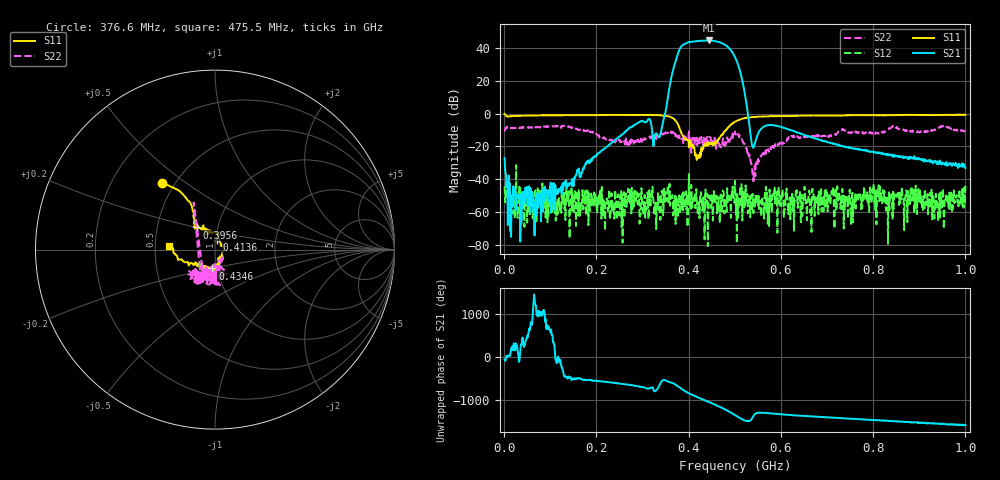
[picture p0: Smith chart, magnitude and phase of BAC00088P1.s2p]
!measured: 2026-10-29T11:18:22
!cal_instance: BB
!cal_created: 2026-10-29T10:46
!cal_file: SOLT_12_1_00M-1_00G_1001pt.cal
!port1_delay_ps: 0.0
!port2_delay_ps: 0.0
!host: lindon
! Created with skrf 2.1.0 (http://scikit-rf.org).
# Hz S RI R 50.0
!freq ReS11 ImS11 ReS21 ImS21 ReS12 ImS12 ReS22 ImS22
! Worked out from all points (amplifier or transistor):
!   1001 points, 1 MHz to 1 GHz, reference 50 ohm
!   highest |S21| = 44.8 dB at 443.6 MHz (marker M1)
!   |S21| within 3 dB of that: 386.4 MHz to 480.8 MHz (94.35 MHz wide, 21.8 % of centre)
!   unconditionally stable (mu >= 1): start of sweep to 400.2 MHz; 405.9 MHz to 483.5 MHz; 500.5 MHz to end of sweep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
!   at 166.8 MHz: K = 2973.67, MAG = -29.4 dB, |S12| = -53.9 dB
!   at 500.5 MHz: K = 1.00, MSG = 37.8 dB, |S12| = -41.0 dB
!   at 1 GHz: K = 451.58, MAG = -24.2 dB, |S12| = -43.7 dB
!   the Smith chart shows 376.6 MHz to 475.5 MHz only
!   S11 on the Smith chart (normalised r, x): 376.6 MHz: 0.43, +0.41; 395.6 MHz: 0.80, +0.20; 413.6 MHz: 1.02, +0.11; 434.6 MHz: 0.95, -0.20; 475.5 MHz: 0.59, +0.03
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1000000  -0.301 0.9504  0.024 -0.0372  0.00554 0.00226  0.2898 0.00689
1.67833e8  0.5666 -0.7031  -0.0138 -0.00631  0.000904 0.00147  -0.00158 -0.3132
3.34666e8  -0.7091 -0.5604  0.1846 0.0491  0.00109 0.000258  0.0601 -0.2134
3.65635e8  -0.7041 0.2143  -6.848 18.71  0.000945 0.00149  -0.0257 -0.2821
3.76624e8  -0.2962 0.3704  54.97 39.03  -0.000589 0.000339  -0.0956 -0.1654
3.85615e8  -0.1172 0.2012  101.9 -62.18  -0.000175 -0.00138  -0.1088 -0.1344
3.95605e8  -0.1 0.1237  -23.62 -142.9  -0.000251 -0.00111  -0.1096 -0.1163
4.04596e8  -0.0565 0.12  -135.1 -80.33  0.00079 0.000771  -0.0836 -0.1482
4.13587e8  0.0112 0.0535  -156.8 39.94  -0.00341 -0.000171  -0.00634 -0.1818
4.24576e8  0.0266 -0.0376  -69.34 153.2  -0.00316 0.00123  -0.0694 -0.1643
4.34566e8  -0.0148 -0.1049  60.61 159.4  6.09e-05 0.000132  0.00325 -0.1235
4.43557e8  -0.0815 -0.0949  151.4 83.54  0.00175 -0.00274  -0.0673 -0.1636
4.52548e8  -0.0839 -0.0814  164.5 -37.13  0.000392 -0.000377  -0.000442 -0.1466
4.62538e8  -0.1215 -0.0795  78.69 -138.1  -0.000974 -0.00149  0.046 -0.1228
4.75525e8  -0.2543 0.022  -80.62 -108.9  -0.00301 -0.00278  -0.0145 -0.1404
4.85515e8  -0.2769 0.2586  -108.1 6.071  0.00187 0.00131  0.0278 -0.1618
4.92508e8  -0.197 0.4314  -58.2 60.66  -0.00323 0.000746  -0.046 -0.1662
5.005e8  0.0111 0.5726  7.887 53.34  -0.00148 0.00877  -0.1961 -0.2072
5.17483e8  0.4662 0.5397  7.789 -3.807  -0.00257 -0.00317  -0.1271 -0.0519
6.67333e8  0.3818 -0.7971  0.1262 0.1438  -0.000277 -0.00395  0.1155 -0.1646
8.34166e8  -0.1922 -0.8791  0.0303 -0.0468  0.00049 0.00394  -0.000433 -0.36
1e9  -0.5591 -0.7375  -0.0198 -0.0102  0.00649 0.000781  -0.0813 -0.2789
